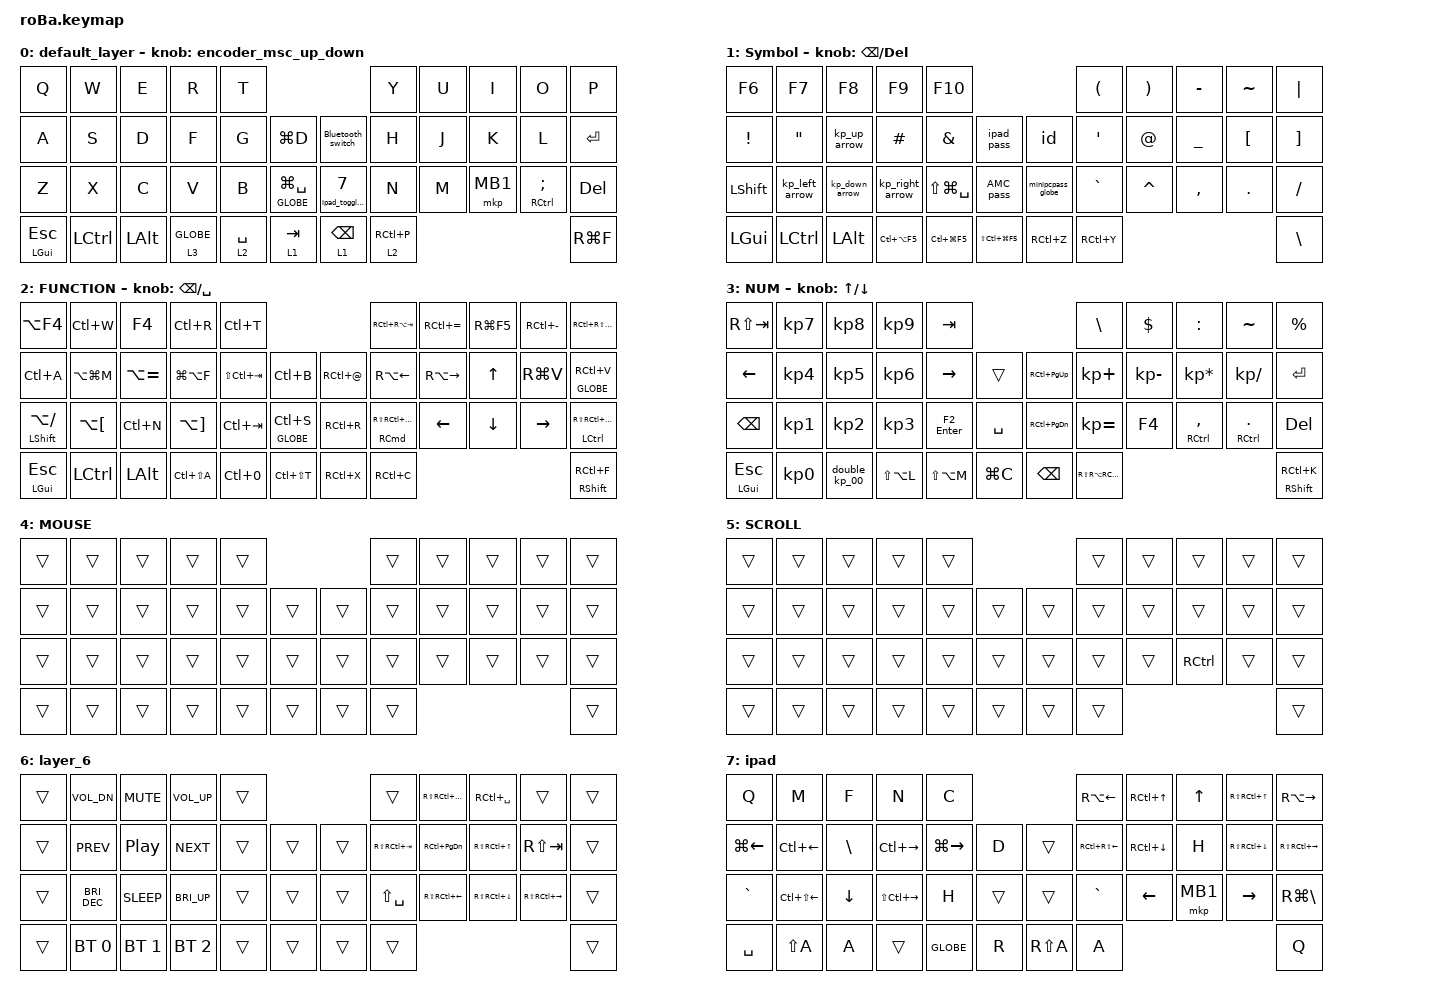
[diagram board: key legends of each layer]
#include <behaviors.dtsi>
#include <dt-bindings/zmk/bt.h>
#include <dt-bindings/zmk/keys.h>
#include <dt-bindings/zmk/pointing.h>

#define ZMK_POINTING_DEFAULT_SCRL_VAL 60

&mt {
    flavor = "balanced";
    quick-tap-ms = <0>;
};

/ {
    combos {
        compatible = "zmk,combos";

        Clear_all_BLE_profiles {
            bindings = <&bt BT_CLR_ALL>;
            key-positions = <10 11 12 13 19 20 21 18>;
        };

        to_AML {
            bindings = <&lt_to_layer_0 3 0>;
            key-positions = <32 33>;
        };

        Left_shift {
            bindings = <&kp LEFT_SHIFT>;
            key-positions = <22 39>;
        };

        Right_shift {
            bindings = <&kp RIGHT_SHIFT>;
            key-positions = <40 21>;
        };

        RIGHT_SHIFT2 {
            bindings = <&kp RIGHT_SHIFT>;
            key-positions = <21 20>;
        };

        LEFT_SHIFT2 {
            bindings = <&kp LEFT_SHIFT>;
            key-positions = <22 23>;
        };

        mb2_combo {
            bindings = <&mkp MB2>;
            key-positions = <31 32>;
        };

        Caps_Lock {
            bindings = <&kp LA(LEFT_GUI)>;
            key-positions = <36 35>;
        };

        layar1 {
            bindings = <&lt_to_layer_0 1 0>;
            key-positions = <40 41>;
        };

        ctrl {
            bindings = <&lt_to_layer_0 1 0>;
            key-positions = <40 33>;
        };

        Consumer_subfunction1 {
            bindings = <&lt_to_layer_0 6 0>;
            key-positions = <41 33>;
        };

        Consumer_subfunction2 {
            bindings = <&lt_to_layer_0 6 0>;
            key-positions = <38 22>;
        };
    };

    macros {
        double_kp_00: double_kp_00 {
            compatible = "zmk,behavior-macro";
            #binding-cells = <0>;
            bindings = <&kp KP_NUMBER_0 &kp KP_NUMBER_0>;
            label = "double_kp_00";
        };

        kp_left_arrow: kp_left_arrow {
            compatible = "zmk,behavior-macro";
            #binding-cells = <0>;
            bindings = <&kp Z &kp H>;
            label = "kp_left_arrow";
        };

        kp_down_arrow: kp_down_arrow {
            compatible = "zmk,behavior-macro";
            #binding-cells = <0>;
            bindings = <&kp Z &kp J>;
            label = "kp_down_arrow";
        };

        kp_up_arrow: kp_up_arrow {
            compatible = "zmk,behavior-macro";
            #binding-cells = <0>;
            bindings = <&kp Z &kp K>;
            label = "kp_up_arrow";
        };

        kp_right_arrow: kp_right_arrow {
            compatible = "zmk,behavior-macro";
            #binding-cells = <0>;
            bindings = <&kp Z &kp L>;
            label = "KP_RIGHT_ARROW";
        };

        id: ps {
            compatible = "zmk,behavior-macro";
            #binding-cells = <0>;
            bindings = <&kp LS(A) &kp LS(B) &kp LS(S) &kp N2 &kp N2 &kp N5 &kp N7>;
            label = "PS";
        };

        miniPC_pass: ID {
            compatible = "zmk,behavior-macro";
            #binding-cells = <0>;
            bindings = <&kp N0 &kp N0 &kp N0 &kp N1 &kp N2 &kp N3 &kp N2 &kp N7 &kp AT_SIGN &kp B &kp S &kp LS(R)>;
            label = "ID";
        };

        mb2_then_return_default_layer: mb2_then_default_layer {
            compatible = "zmk,behavior-macro";
            #binding-cells = <0>;
            bindings = <&mkp MB2>, <&macro_wait_time 250>, <&to 0>;

            label = "MB2_THEN_RETURN_DEFAULT_RAYER";
        };

        AMC_pass: password2 {
            compatible = "zmk,behavior-macro";
            #binding-cells = <0>;
            bindings = <&kp A &kp M &kp C &kp N0 &kp N7 &kp N1 &kp N3 &kp N1 &kp N0>;
            label = "PASSWORD2";
        };

        ipad_pass: password3 {
            compatible = "zmk,behavior-macro";
            #binding-cells = <0>;
            bindings = <&kp N0 &kp N7 &kp N1 &kp N3 &kp N1 &kp N0>;
            label = "PASSWORD3";
        };
    };

    behaviors {
        lt_to_layer_0: lt_to_layer_0 {
            compatible = "zmk,behavior-hold-tap";
            label = "LAYER_TAP_TO_0";
            bindings = <&mo>, <&double_kp_00>;

            #binding-cells = <2>;
            tapping-term-ms = <200>;
        };

        encoder_msc_up_down: encoder_msc_down_up {
            compatible = "zmk,behavior-sensor-rotate";
            label = "ENCODER_MSC_DOWN_UP";
            #sensor-binding-cells = <0>;
            bindings = <&msc SCRL_UP>, <&msc SCRL_DOWN>;

            tap-ms = <50>;  // デバウンスと暴走防止
        };

        F2_Enter: F2_Enter {
            compatible = "zmk,behavior-tap-dance";
            label = "F2_ENTER";
            #binding-cells = <0>;
            bindings = <&kp F2>, <&kp ENTER>;

            tapping-term-ms = <250>;
        };

        lt_space: lt_space {
            compatible = "zmk,behavior-hold-tap";
            label = "LT_SPACE";
            bindings = <&mo>, <&kp>;

            #binding-cells = <2>;
            quick-tap-ms = <120>;
            tapping-term-ms = <120>;
            require-prior-idle-ms = <116>;
        };

        lt_backspace: lt_backspace {
            compatible = "zmk,behavior-hold-tap";
            label = "LT_BACKSPACE";
            bindings = <&mo>, <&kp>;

            #binding-cells = <2>;
            tapping-term-ms = <120>;
            quick-tap-ms = <120>;
            require-prior-idle-ms = <120>;
        };

        globe_paste: globe_paste {
            compatible = "zmk,behavior-hold-tap";
            label = "GLOBE_PASTE";
            bindings = <&kp>, <&kp>;

            #binding-cells = <2>;
            tapping-term-ms = <149>;
            quick-tap-ms = <148>;
            require-prior-idle-ms = <120>;
        };

        minipcpass_globe: minipcpass_globe {
            compatible = "zmk,behavior-tap-dance";
            label = "MINIPCPASS_GLOBE";
            #binding-cells = <0>;
            bindings = <&miniPC_pass>, <&kp GLOBE>;
        };

        ipad_toggle_layer: ipad_toggle_layer {
            compatible = "zmk,behavior-toggle-layer";
            label = "IPAD_TOGGLE_LAYER";
            #binding-cells = <1>;
        };

        Bluetooth_switch: Bluetooth_switch {
            compatible = "zmk,behavior-tap-dance";
            label = "BLUETOOTH_SWITCH";
            #binding-cells = <0>;
            bindings = <&bt BT_SEL 0>, <&bt BT_SEL 1>, <&bt BT_SEL 2>;
        };
    };

    keymap {
        compatible = "zmk,keymap";

        default_layer {
            bindings = <
&kp Q             &kp W             &kp E         &kp R        &kp T                                                                  &kp Y        &kp U  &kp I     &kp O           &kp P
&kp A             &kp S             &kp D         &kp F        &kp G              &kp LG(D)                &Bluetooth_switch          &kp H        &kp J  &kp K     &kp L           &kp ENTER
&kp Z             &kp X             &kp C         &kp V        &kp B              &mt GLOBE LG(SPACE)      &ipad_toggle_layer 7       &kp N        &kp M  &mkp MB1  &mt RCTRL SEMI  &kp DELETE
&mt LEFT_GUI ESC  &kp LEFT_CONTROL  &kp LEFT_ALT  &lt 3 GLOBE  &lt_space 2 SPACE  &lt 1 TAB                &lt_backspace 1 BACKSPACE  &lt 2 RC(P)                                   &kp RG(F)
            >;

            sensor-bindings = <&encoder_msc_up_down>;
        };

        Symbol {
            bindings = <
&kp F6           &kp F7             &kp F8          &kp F9           &kp F10                                                       &kp LEFT_PARENTHESIS  &kp RIGHT_PARENTHESIS  &kp MINUS       &kp TILDE         &kp PIPE
&kp EXCLAMATION  &kp DOUBLE_QUOTES  &kp_up_arrow    &kp HASH         &kp AMPERSAND      &ipad_pass              &id                &kp SINGLE_QUOTE      &kp AT_SIGN            &kp UNDERSCORE  &kp LEFT_BRACKET  &kp RIGHT_BRACKET
&kp LEFT_SHIFT   &kp_left_arrow     &kp_down_arrow  &kp_right_arrow  &kp LS(LG(SPACE))  &AMC_pass               &minipcpass_globe  &kp GRAVE             &kp CARET              &kp COMMA       &kp PERIOD        &kp SLASH
&kp LEFT_GUI     &kp LEFT_CONTROL   &kp LEFT_ALT    &kp LC(LA(F5))   &kp LC(LG(F5))     &kp LS(LC(LG(F5)))      &kp RC(Z)          &kp RC(Y)                                                                      &kp BACKSLASH
            >;

            sensor-bindings = <&inc_dec_kp BACKSPACE DELETE>;
        };

        FUNCTION {
            bindings = <
&kp LA(F4)                &kp LC(W)         &kp F4         &kp LC(R)              &kp LC(T)                                              &kp RC(RA(TAB))                    &kp RC(EQUAL)        &kp RG(F5)      &kp RC(MINUS)    &kp RC(RS(RA(TAB)))
&kp LC(A)                 &kp LA(LG(M))     &kp LA(EQUAL)  &kp LG(LA(F))          &kp LS(LC(TAB))  &kp LC(B)            &kp RC(AT_SIGN)  &kp RA(LEFT_ARROW)                 &kp RA(RIGHT_ARROW)  &kp UP_ARROW    &kp RG(V)        &globe_paste GLOBE RC(V)
&mt LEFT_SHIFT LA(SLASH)  &kp LA(LBKT)      &kp LC(N)      &kp LA(RIGHT_BRACKET)  &kp LC(TAB)      &mt GLOBE LC(S)      &kp RC(R)        &mt RIGHT_COMMAND RS(RC(PAGE_UP))  &kp LEFT_ARROW       &kp DOWN_ARROW  &kp RIGHT_ARROW  &mt LCTRL RS(RC(PAGE_DOWN))
&mt LEFT_GUI ESCAPE       &kp LEFT_CONTROL  &kp LEFT_ALT   &kp LC(LS(A))          &kp LC(N0)       &kp LC(LS(T))        &kp RC(X)        &kp RC(C)                                                                                &mt RIGHT_SHIFT RC(F)
            >;

            sensor-bindings = <&inc_dec_kp BACKSPACE SPACE>;
        };

        NUM {
            bindings = <
&kp RS(TAB)          &kp KP_NUMBER_7  &kp KP_NUMBER_8  &kp KP_NUMBER_9  &kp TAB                                            &kp BACKSLASH          &kp DOLLAR    &kp COLON        &kp TILDE         &kp PERCENT
&kp LEFT_ARROW       &kp KP_NUMBER_4  &kp KP_NUMBER_5  &kp KP_NUMBER_6  &kp RIGHT_ARROW  &trans         &kp RC(PG_UP)      &kp KP_PLUS            &kp KP_MINUS  &kp KP_ASTERISK  &kp KP_SLASH      &kp ENTER
&kp BACKSPACE        &kp KP_NUMBER_1  &kp KP_NUMBER_2  &kp KP_NUMBER_3  &F2_Enter        &kp SPACE      &kp RC(PAGE_DOWN)  &kp KP_EQUAL           &kp F4        &mt RCTRL COMMA  &mt RCTRL PERIOD  &kp DELETE
&mt LEFT_GUI ESCAPE  &kp KP_NUMBER_0  &double_kp_00    &kp LS(LA(L))    &kp LS(LA(M))    &kp LG(C)      &kp BACKSPACE      &kp RS(RA(RC(RG(C))))                                                   &mt RIGHT_SHIFT RC(K)
            >;

            sensor-bindings = <&inc_dec_kp UP_ARROW DOWN_ARROW>;
        };

        MOUSE {
            bindings = <
&trans  &trans  &trans  &trans  &trans                      &trans  &trans  &trans  &trans  &trans
&trans  &trans  &trans  &trans  &trans  &trans      &trans  &trans  &trans  &trans  &trans  &trans
&trans  &trans  &trans  &trans  &trans  &trans      &trans  &trans  &trans  &trans  &trans  &trans
&trans  &trans  &trans  &trans  &trans  &trans      &trans  &trans                          &trans
            >;
        };

        SCROLL {
            bindings = <
&trans  &trans  &trans  &trans  &trans                      &trans  &trans  &trans             &trans  &trans
&trans  &trans  &trans  &trans  &trans  &trans      &trans  &trans  &trans  &trans             &trans  &trans
&trans  &trans  &trans  &trans  &trans  &trans      &trans  &trans  &trans  &kp RIGHT_CONTROL  &trans  &trans
&trans  &trans  &trans  &trans  &trans  &trans      &trans  &trans                                     &trans
            >;
        };

        layer_6 {
            bindings = <
&trans  &kp C_VOL_DN   &kp C_MUTE        &kp C_VOLUME_UP  &trans                      &trans           &kp RS(RC(PAGE_UP))     &kp RC(SPACE)           &trans                   &trans
&trans  &kp C_PREV     &kp C_PLAY_PAUSE  &kp C_NEXT       &trans  &trans      &trans  &kp RS(RC(TAB))  &kp RC(PAGE_DOWN)       &kp RS(RC(UP_ARROW))    &kp RS(TAB)              &trans
&trans  &kp C_BRI_DEC  &kp C_SLEEP       &kp C_BRI_UP     &trans  &trans      &trans  &kp LS(SPACE)    &kp RS(RC(LEFT_ARROW))  &kp RS(RC(DOWN_ARROW))  &kp RS(RC(RIGHT_ARROW))  &trans
&trans  &bt BT_SEL 0   &bt BT_SEL 1      &bt BT_SEL 2     &trans  &trans      &trans  &trans                                                                                    &trans
            >;
        };

        ipad {
            bindings = <
&kp Q               &kp M                   &kp F           &kp N                    &kp C                                       &kp RA(LEFT_ARROW)      &kp RC(UP_ARROW)    &kp UP_ARROW  &kp RS(RC(UP_ARROW))    &kp RA(RIGHT_ARROW)
&kp LG(LEFT_ARROW)  &kp LC(LEFT_ARROW)      &kp BACKSLASH   &kp LC(RIGHT_ARROW)      &kp LG(RIGHT_ARROW)  &kp D       &trans     &kp RC(RS(LEFT_ARROW))  &kp RC(DOWN_ARROW)  &kp H         &kp RS(RC(DOWN_ARROW))  &kp RS(RC(RIGHT_ARROW))
&kp GRAVE           &kp LC(LS(LEFT_ARROW))  &kp DOWN_ARROW  &kp LS(LC(RIGHT_ARROW))  &kp H                &trans      &trans     &kp GRAVE               &kp LEFT_ARROW      &mkp MB1      &kp RIGHT_ARROW         &kp RG(BACKSLASH)
&kp SPACE           &kp LS(A)               &kp A           &trans                   &kp GLOBE            &kp R       &kp RS(A)  &kp A                                                                             &kp Q
            >;
        };
    };
};
